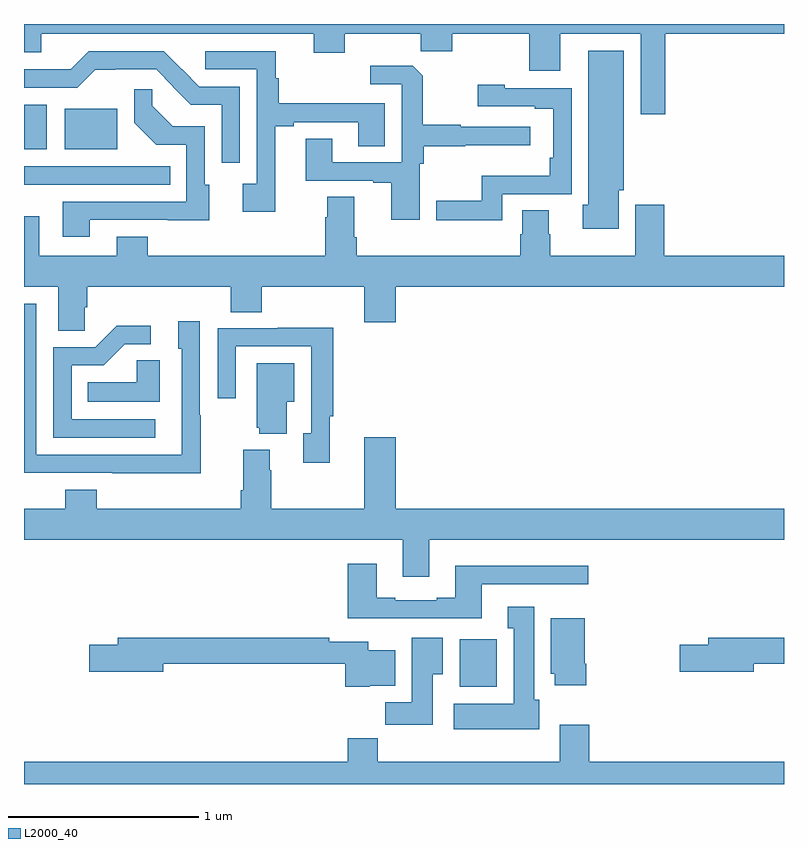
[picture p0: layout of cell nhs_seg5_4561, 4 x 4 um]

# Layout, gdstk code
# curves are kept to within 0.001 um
import gdstk
lib = gdstk.Library(unit=1e-6, precision=1e-09)
def R(c, l, rs):  # rectangles x0, y0, x1, y1
    for r in rs: c.add(gdstk.rectangle(r[:2], r[2:], *l))
def P(c, l, *ps):  # polygons
    for p in ps: c.add(gdstk.Polygon(p, *l))
L2000_40 = (2000, 40)

nhs_seg5_4561 = lib.new_cell('nhs_seg5_4561')
R(nhs_seg5_4561, L2000_40, [(381.293,865.31,381.489,865.561), (379,868.139,379.12,868.375), (379.214,868.139,379.492,868.354)])
P(nhs_seg5_4561, L2000_40, [(382.376,868.748),(383,868.748),(383,868.799),(379,868.799),(379,868.65),(379.09,868.65),(379.09,868.748),(380.525,868.748),(380.525,868.649),(380.689,868.649),(380.689,868.748),(381.089,868.748),(381.089,868.655),(381.253,868.655),(381.253,868.748),(381.659,868.748),(381.659,868.554),(381.823,868.554),(381.823,868.748),(382.247,868.748),(382.247,868.323),(382.376,868.323)],
  [(382.129,867.924),(382.156,867.924),(382.156,868.657),(381.971,868.657),(381.971,867.848),(381.941,867.848),(381.941,867.722),(382.129,867.722)],
  [(380.136,868.47),(379.923,868.47),(379.735,868.656),(379.341,868.656),(379.247,868.562),(379.142,868.562),(379.142,868.56),(379,868.56),(379,868.464),(379.281,868.464),(379.376,868.559),(379.695,868.56),(379.785,868.47),(379.783,868.468),(379.877,868.374),(380.04,868.374),(380.04,868.068),(380.136,868.068)],
  [(380.323,868.261),(380.419,868.261),(380.419,868.281),(380.759,868.281),(380.759,868.156),(380.899,868.156),(380.899,868.382),(380.342,868.382),(380.342,868.514),(380.324,868.514),(380.324,868.656),(379.953,868.656),(379.953,868.56),(380.226,868.56),(380.226,867.958),(380.151,867.958),(380.151,867.81),(380.323,867.81)],
  [(381.084,868.064),(381.104,868.064),(381.104,868.156),(381.323,868.156),(381.323,868.16),(381.664,868.16),(381.664,868.257),(381.299,868.257),(381.299,868.27),(381.099,868.27),(381.099,868.527),(381.047,868.579),(380.823,868.579),(380.823,868.482),(380.988,868.482),(380.988,868.071),(380.623,868.071),(380.623,868.196),(380.483,868.196),(380.483,867.975),(380.837,867.975),(380.837,867.963),(380.933,867.963),(380.933,867.768),(381.084,867.768)],
  [(381.516,867.903),(381.882,867.903),(381.882,868.461),(381.531,868.461),(381.531,868.48),(381.387,868.48),(381.387,868.365),(381.689,868.365),(381.689,868.353),(381.786,868.353),(381.786,868.096),(381.766,868.096),(381.766,868),(381.408,868),(381.408,867.869),(381.171,867.869),(381.171,867.767),(381.516,867.767)],
  [(379.345,867.768),(379.975,867.767),(379.975,867.954),(379.95,867.954),(379.95,868.26),(379.784,868.26),(379.676,868.368),(379.676,868.456),(379.581,868.456),(379.581,868.28),(379.697,868.164),(379.854,868.164),(379.854,867.864),(379.205,867.864),(379.205,867.678),(379.345,867.678)],
  [(379.109,867.954),(379.769,867.954),(379.769,868.05),(379,868.05),(379,867.953),(379.109,867.953)],
  [(379.32,867.307),(379.334,867.307),(379.334,867.416),(380.087,867.416),(380.087,867.283),(380.252,867.283),(380.252,867.416),(380.792,867.416),(380.792,867.228),(380.956,867.228),(380.956,867.416),(383,867.416),(383,867.58),(382.37,867.58),(382.37,867.847),(382.217,867.847),(382.217,867.58),(381.771,867.58),(381.771,867.693),(381.763,867.693),(381.763,867.818),(381.623,867.818),(381.623,867.693),(381.611,867.693),(381.611,867.58),(380.75,867.58),(380.75,867.676),(380.737,867.676),(380.737,867.89),(380.597,867.89),(380.597,867.782),(380.585,867.782),(380.585,867.58),(379.651,867.58),(379.651,867.679),(379.487,867.679),(379.487,867.58),(379.081,867.58),(379.081,867.787),(379,867.787),(379,867.416),(379.181,867.416),(379.181,867.184),(379.32,867.184)],
  [(379.929,866.741),(379.926,866.741),(379.926,867.235),(379.811,867.235),(379.811,867.09),(379.83,867.09),(379.83,866.532),(379.065,866.532),(379.065,867.327),(379,867.327),(379,866.436),(379.465,866.436),(379.465,866.435),(379.929,866.435)],
  [(379.69,866.718),(379.251,866.718),(379.251,867.003),(379.42,867.003),(379.531,867.114),(379.666,867.114),(379.666,867.212),(379.487,867.212),(379.374,867.099),(379.155,867.099),(379.155,866.622),(379.69,866.622)],
  [(380.609,866.734),(380.627,866.734),(380.627,867.2),(380.335,867.2),(380.335,867.198),(380.019,867.198),(380.019,866.829),(380.115,866.829),(380.115,867.102),(380.511,867.102),(380.511,866.646),(380.471,866.646),(380.471,866.49),(380.609,866.49)],
  [(379.714,867.029),(379.593,867.029),(379.593,866.914),(379.336,866.914),(379.336,866.81),(379.714,866.81)],
  [(380.383,866.81),(380.422,866.81),(380.422,867.013),(380.225,867.013),(380.225,866.673),(380.237,866.673),(380.237,866.642),(380.383,866.642)],
  [(381.133,866.084),(383,866.084),(383,866.248),(380.956,866.248),(380.956,866.623),(380.792,866.623),(380.792,866.248),(380.301,866.248),(380.301,866.45),(380.293,866.45),(380.293,866.557),(380.153,866.557),(380.153,866.344),(380.141,866.344),(380.141,866.248),(379.382,866.248),(379.382,866.347),(379.217,866.347),(379.217,866.248),(379,866.248),(379,866.084),(380.993,866.084),(380.993,865.89),(381.133,865.89)],
  [(381.409,865.851),(381.97,865.851),(381.97,865.948),(381.269,865.948),(381.269,865.78),(381.173,865.78),(381.173,865.767),(380.953,865.767),(380.953,865.78),(380.857,865.78),(380.857,865.957),(380.705,865.957),(380.705,865.671),(381.409,865.671)],
  [(381.712,865.242),(381.685,865.242),(381.685,865.732),(381.545,865.732),(381.545,865.619),(381.578,865.619),(381.578,865.222),(381.261,865.222),(381.261,865.088),(381.712,865.088)],
  [(381.96,865.432),(381.952,865.432),(381.952,865.672),(381.773,865.672),(381.773,865.38),(381.794,865.38),(381.794,865.32),(381.96,865.32)],
  [(381.151,865.376),(381.205,865.376),(381.205,865.57),(381.041,865.57),(381.041,865.228),(380.902,865.228),(380.902,865.11),(381.151,865.11)],
  [(382.84,865.432),(383,865.432),(383,865.568),(382.601,865.568),(382.601,865.532),(382.452,865.532),(382.452,865.39),(382.84,865.39)],
  [(380.82,865.316),(380.953,865.316),(380.953,865.504),(380.812,865.504),(380.812,865.548),(380.606,865.548),(380.606,865.568),(379.493,865.568),(379.493,865.532),(379.344,865.532),(379.344,865.39),(379.732,865.39),(379.732,865.432),(380.69,865.432),(380.69,865.31),(380.82,865.31)],
  [(383,864.916),(381.974,864.916),(381.974,865.111),(381.821,865.111),(381.821,864.916),(380.861,864.916),(380.861,865.04),(380.705,865.04),(380.705,864.916),(379,864.916),(379,864.799),(383,864.799)])

lib.write_gds('nhs_seg5_4561.gds')
